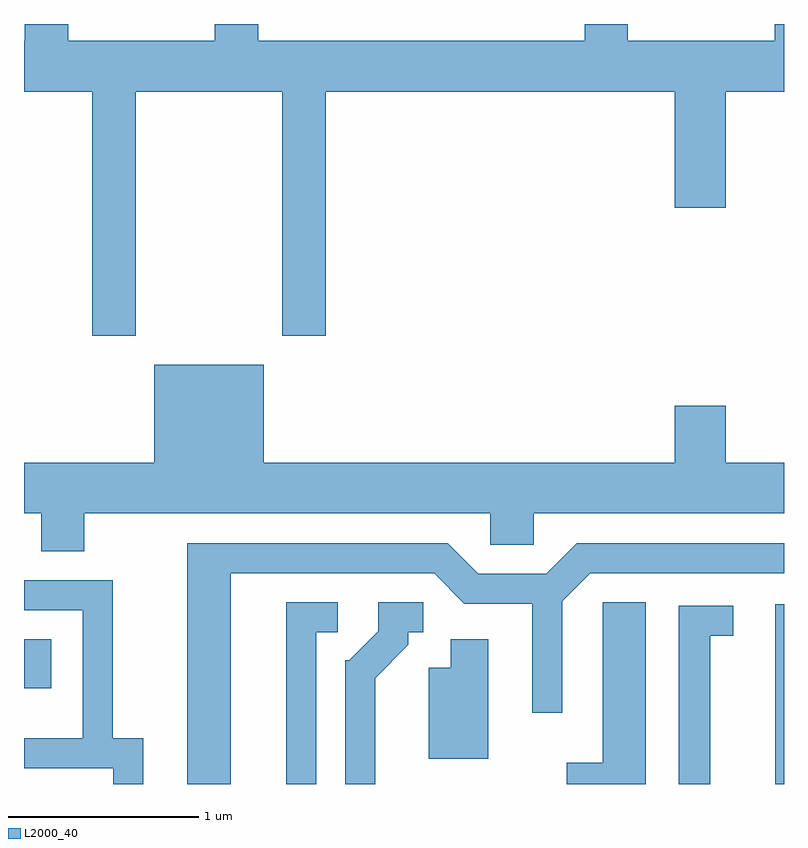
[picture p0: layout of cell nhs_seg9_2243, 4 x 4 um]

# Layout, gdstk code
import gdstk
lib = gdstk.Library(unit=1e-6, precision=1e-09)
def R(c, l, rs):  # rectangles x0, y0, x1, y1
    for r in rs: c.add(gdstk.rectangle(r[:2], r[2:], *l))
def P(c, l, *ps):  # polygons
    for p in ps: c.add(gdstk.Polygon(p, *l))
L2000_40 = (2000, 40)

nhs_seg9_2243 = lib.new_cell('nhs_seg9_2243')
R(nhs_seg9_2243, L2000_40, [(255.566,1950.432,255.611,1951.379), (251.611,1950.936,251.754,1951.194)])
P(nhs_seg9_2243, L2000_40, [(252.199,1954.076),(252.971,1954.076),(252.971,1952.791),(253.199,1952.791),(253.199,1954.076),(255.036,1954.076),(255.036,1953.466),(255.304,1953.466),(255.304,1954.076),(255.611,1954.076),(255.611,1954.432),(255.561,1954.432),(255.561,1954.344),(254.789,1954.344),(254.789,1954.432),(254.561,1954.432),(254.561,1954.344),(252.844,1954.344),(252.844,1954.432),(252.616,1954.432),(252.616,1954.344),(251.844,1954.344),(251.844,1954.432),(251.616,1954.432),(251.616,1954.344),(251.611,1954.344),(251.611,1954.076),(251.971,1954.076),(251.971,1952.791),(252.199,1952.791)],
  [(251.929,1951.856),(254.066,1951.856),(254.066,1951.691),(254.294,1951.691),(254.294,1951.856),(255.611,1951.856),(255.611,1952.124),(255.304,1952.124),(255.304,1952.424),(255.036,1952.424),(255.036,1952.124),(252.874,1952.124),(252.874,1952.639),(252.296,1952.639),(252.296,1952.124),(251.611,1952.124),(251.611,1951.856),(251.701,1951.856),(251.701,1951.656),(251.929,1951.656)],
  [(252.699,1951.541),(253.769,1951.541),(253.929,1951.381),(254.286,1951.381),(254.286,1950.808),(254.444,1950.808),(254.444,1951.394),(254.592,1951.541),(255.611,1951.541),(255.611,1951.699),(254.519,1951.699),(254.359,1951.539),(254.002,1951.539),(253.842,1951.699),(252.471,1951.699),(252.471,1950.432),(252.699,1950.432)],
  [(252.239,1950.674),(252.079,1950.674),(252.079,1951.504),(251.611,1951.504),(251.611,1951.346),(251.921,1951.346),(251.921,1950.674),(251.611,1950.674),(251.611,1950.516),(252.081,1950.516),(252.081,1950.432),(252.239,1950.432)],
  [(254.884,1951.389),(254.656,1951.389),(254.656,1950.544),(254.468,1950.544),(254.468,1950.432),(254.884,1950.432)],
  [(253.459,1950.989),(253.634,1951.164),(253.634,1951.231),(253.713,1951.231),(253.713,1951.389),(253.476,1951.389),(253.476,1951.237),(253.324,1951.084),(253.301,1951.084),(253.301,1950.432),(253.459,1950.432)],
  [(253.149,1951.231),(253.263,1951.231),(253.263,1951.389),(252.991,1951.389),(252.991,1950.432),(253.149,1950.432)],
  [(255.224,1951.211),(255.343,1951.211),(255.343,1951.369),(255.056,1951.369),(255.056,1950.432),(255.224,1950.432)],
  [(254.054,1951.194),(253.856,1951.194),(253.856,1951.044),(253.741,1951.044),(253.741,1950.566),(254.054,1950.566)])

lib.write_gds('nhs_seg9_2243.gds')
